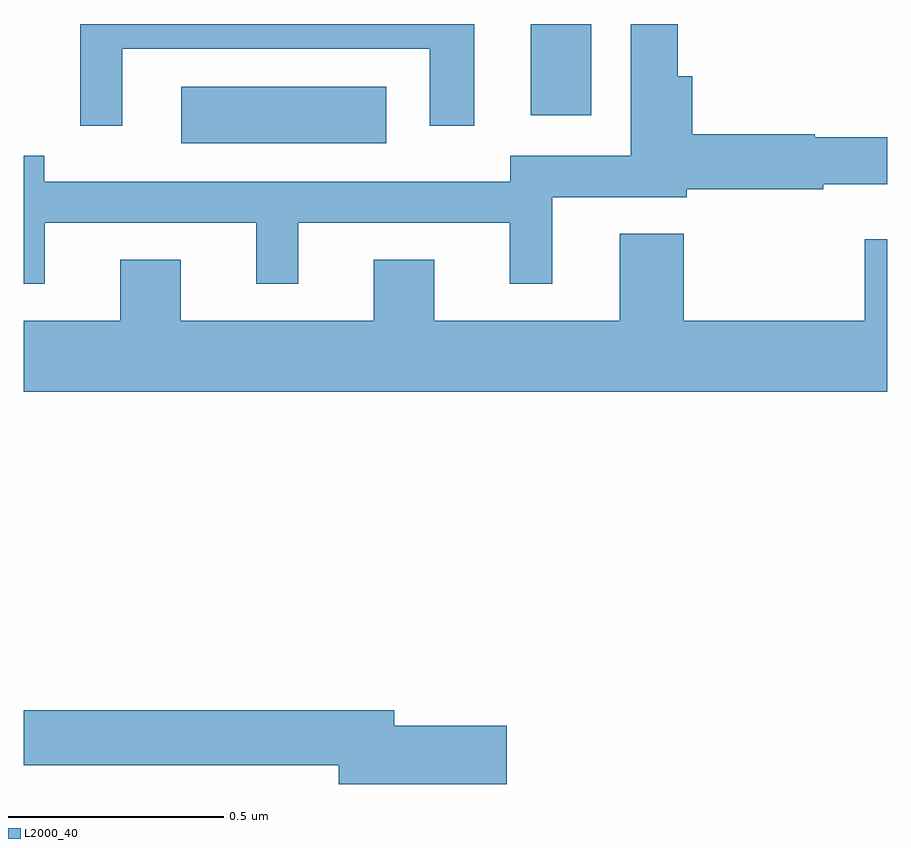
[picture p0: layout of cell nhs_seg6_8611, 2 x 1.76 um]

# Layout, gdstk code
import gdstk
lib = gdstk.Library(unit=1e-6, precision=1e-09)
def R(c, l, rs):  # rectangles x0, y0, x1, y1
    for r in rs: c.add(gdstk.rectangle(r[:2], r[2:], *l))
def P(c, l, *ps):  # polygons
    for p in ps: c.add(gdstk.Polygon(p, *l))
L2000_40 = (2000, 40)

nhs_seg6_8611 = lib.new_cell('nhs_seg6_8611')
R(nhs_seg6_8611, L2000_40, [(223.365,969.224,223.84,969.355), (224.174,969.288,224.314,969.5)])
P(nhs_seg6_8611, L2000_40, [(223.048,969.039),(223.538,969.039),(223.538,968.898),(223.636,968.898),(223.636,969.039),(224.126,969.039),(224.126,968.898),(224.224,968.898),(224.224,969.099),(224.536,969.099),(224.536,969.117),(224.852,969.117),(224.852,969.129),(225,969.129),(225,969.238),(224.832,969.238),(224.832,969.245),(224.549,969.245),(224.549,969.379),(224.515,969.379),(224.515,969.5),(224.406,969.5),(224.406,969.195),(224.127,969.195),(224.127,969.135),(223.047,969.135),(223.047,969.195),(223,969.195),(223,968.898),(223.048,968.898)],
  [(223.228,969.443),(223.94,969.443),(223.94,969.264),(224.044,969.264),(224.044,969.5),(223.13,969.5),(223.13,969.264),(223.228,969.264)],
  [(225,969.001),(224.948,969.001),(224.948,968.812),(224.529,968.812),(224.529,969.014),(224.381,969.014),(224.381,968.812),(223.951,968.812),(223.951,968.954),(223.811,968.954),(223.811,968.812),(223.363,968.812),(223.363,968.954),(223.223,968.954),(223.223,968.812),(223,968.812),(223,968.648),(225,968.648)],
  [(224.119,967.874),(223.858,967.874),(223.858,967.91),(223,967.91),(223,967.782),(223.73,967.782),(223.73,967.739),(224.119,967.739)])

lib.write_gds('nhs_seg6_8611.gds')
